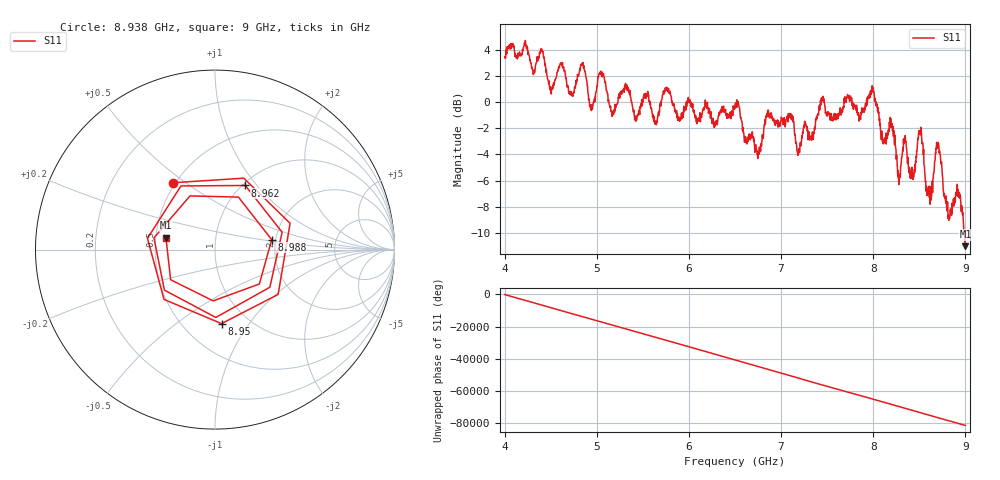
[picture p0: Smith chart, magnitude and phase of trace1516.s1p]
! Created with skrf 1.8.0 (http://scikit-rf.org).
# Hz S RI R 50.0
!freq ReS11 ImS11
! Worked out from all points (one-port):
!   1601 points, 4 GHz to 9 GHz, reference 50 ohm
!   lowest |S11| = -11.0 dB at 9 GHz (marker M1), VSWR 1.78, Z = 28.3 + j4.09 ohm
!   |S11| at or under -10 dB: 8.989693 GHz to end of sweep
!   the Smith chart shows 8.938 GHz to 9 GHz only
!   S11 on the Smith chart (normalised r, x): 8.938 GHz: 0.48, +0.45; 8.95 GHz: 0.75, -0.75; 8.962 GHz: 1.03, +0.87; 8.988 GHz: 1.91, +0.23; 9 GHz: 0.57, +0.08
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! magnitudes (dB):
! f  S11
! 4 GHz  3.4
! 4.625 GHz  2.9
! 4.722 GHz  0.5
! 4.85 GHz  3.0
! 4.944 GHz  -0.4
! 5.047 GHz  2.3
! 5.169 GHz  -1.0
! 5.25 GHz  0.3
! 5.875 GHz  -0.9
! 6.5 GHz  -0.2
! 6.753 GHz  -4.1
! 6.859 GHz  -0.6
! 7.125 GHz  -1.2
! 7.194 GHz  -3.9
! 7.441 GHz  0.2
! 7.75 GHz  0.4
! 7.994 GHz  1.0
! 8.275 GHz  -5.9
! 8.375 GHz  -4.2
! 8.509 GHz  -2.2
! 8.597 GHz  -6.8
! 8.7 GHz  -3.2
! 8.819 GHz  -9.0
! 8.938 GHz  -7.1
! 8.95 GHz  -7.7
! 8.962 GHz  -8.1
! 8.988 GHz  -9.9
! 9 GHz  -11.0
